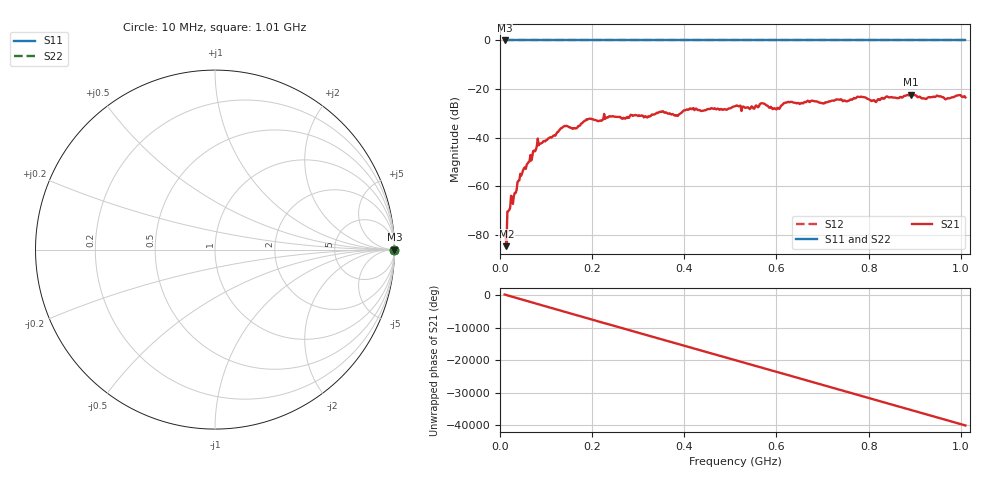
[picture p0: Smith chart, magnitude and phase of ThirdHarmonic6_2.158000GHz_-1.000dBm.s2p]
! 8/17/2025 1:45:50 AM
! C:\ANRITSUVNA\TEMP\TEMP.S2P
! CHANNEL.1
! TR.MEASUREMENT
! RAW.DATA
! RF.CORRECTION.OFF
! AVERAGING.OFF
! IF.BANDWIDTH: 5KHZ
! SWEEPTYPE:  FREQ.SWEEP(Linear)
! Reference Plane Port Info
! PORT:  PORT1  PORT2
! DISTANCE:  0  m  0  m
! TIME:  0  s  0  s
! PHASE.OFFSET:  0  deg.  0  deg.
! LOSS:  0  dB  0  dB
! REF.LOSS:  0  dB  0  dB
! REF.FREQ:  0  Hz  0  Hz
! Power Info
! POWER:  -20  dBm  -20  dBm
! EFF.POWER:  -20  dBm  -20  dBm
! SOURCE.ATTEN:  0  dB  0  dB
! TEST.ATTEN:  0  dB  0  dB
# GHZ S RI R 50.0
! FREQ.GHZ  S11RE  S11IM  S21RE  S21IM  S12RE  S12IM  S22RE  S22IM
!; PortSelection: Port_12
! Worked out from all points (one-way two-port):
!   501 points, 10 MHz to 1.01 GHz, reference 50 ohm
!   highest |S21| = -22.28 dB at 892 MHz (marker M1); lowest = -84.7 dB at 14 MHz (marker M2)
!   lowest |S11| = 0.0 dB at 10 MHz (marker M3)
!   |S11| at or under -10 dB: nowhere
!   |S22| runs from 0.0 to 0.0 dB; largest |S21 - S12| = 1.1
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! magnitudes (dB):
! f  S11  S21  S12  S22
! 10 MHz  0.0  -80.3  0.0  0.0
! 14 MHz  0.0  -84.7  0.0  0.0
! 20 MHz  0.0  -69.8  0.0  0.0
! 32 MHz  0.0  -62.7  0.0  0.0
! 42 MHz  0.0  -57.6  0.0  0.0
! 82 MHz  0.0  -40.4  0.0  0.0
! 136 MHz  0.0  -35.7  0.0  0.0
! 162 MHz  0.0  -36.1  0.0  0.0
! 178 MHz  0.0  -34.1  0.0  0.0
! 192 MHz  0.0  -32.3  0.0  0.0
! 344 MHz  0.0  -29.7  0.0  0.0
! 382 MHz  0.0  -30.7  0.0  0.0
! 416 MHz  0.0  -28.3  0.0  0.0
! 510 MHz  0.0  -27.1  0.0  0.0
! 548 MHz  0.0  -27.4  0.0  0.0
! 570 MHz  0.0  -25.9  0.0  0.0
! 596 MHz  0.0  -27.9  0.0  0.0
! 622 MHz  0.0  -25.6  0.0  0.0
! 678 MHz  0.0  -24.8  0.0  0.0
! 844 MHz  0.0  -23.4  0.0  0.0
! 892 MHz  0.0  -22.3  0.0  0.0
! 1.01 GHz  0.0  -23.4  0.0  0.0
